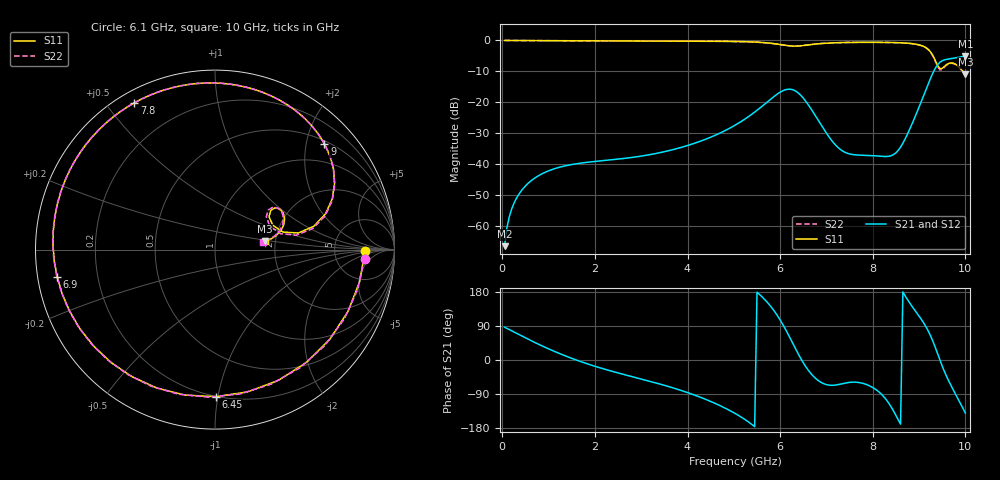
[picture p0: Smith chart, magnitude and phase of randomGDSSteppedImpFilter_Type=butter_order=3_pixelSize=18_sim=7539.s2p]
! freq	dB(S11)	phase(S11)	dB(S12)	phase(S12)
!  dB(S21)	phase(S21)	dB(S22)	phase(S22)
!S-par simulation data
#  GHz  S  DB  R 50
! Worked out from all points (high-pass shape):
!   200 points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, 50 MHz to 10 GHz, reference 50 ohm
!   highest |S21| = -5.12 dB at 10 GHz (marker M1); lowest = -66.7 dB at 50 MHz (marker M2)
!   |S21| within 3 dB of the highest: 9.389 GHz to end of sweep
!   lowest |S11| = -11.0 dB at 10 GHz (marker M3), VSWR 1.78, Z = 87.8 + j8.64 ohm
!   |S11| at or under -10 dB: 9.944 GHz to end of sweep
!   |S22| runs from -11.4 to 0.0 dB; largest |S21 - S12| = 0
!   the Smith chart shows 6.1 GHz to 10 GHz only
!   S11 on the Smith chart (normalised r, x): 6.1 GHz: 11, -1; 6.45 GHz: 0.20, -0.99; 6.9 GHz: 0.06, -0.09; 7.8 GHz: 0.05, +0.59; 9 GHz: 0.56, +2.36; 10 GHz: 1.76, +0.17
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0.05  -0.00 -3.2  -66.70 86.5  -66.70 86.5  -0.00 -3.2
0.2  -0.02 -12.9  -54.75 77.0  -54.75 77.0  -0.02 -12.9
0.5  -0.04 -31.7  -47.16 58.3  -47.16 58.3  -0.04 -31.7
1.1  -0.08 -67.0  -41.71 24.0  -41.71 24.0  -0.08 -67.0
1.75  -0.11 -100.4  -39.66 -6.6  -39.66 -6.6  -0.11 -100.4
3.4  -0.16 -168.0  -36.39 -63.3  -36.39 -63.3  -0.16 -168.1
4.3  -0.22 157.5  -32.54 -99.4  -32.54 -99.4  -0.22 157.2
5.05  -0.34 121.7  -27.27 -142.6  -27.27 -142.6  -0.34 121.2
5.7  -0.76 68.2  -20.21 155.2  -20.21 155.2  -0.77 66.7
6.1  -1.56 -0.6  -16.05 84.5  -16.05 84.5  -1.57 -3.5
6.3  -1.84 -51.1  -16.14 37.3  -16.14 37.3  -1.82 -54.4
6.45  -1.73 -89.7  -17.86 2.9  -17.86 2.9  -1.69 -92.5
6.7  -1.27 -141.3  -22.97 -40.6  -22.97 -40.6  -1.24 -143.0
6.9  -0.99 -170.1  -27.77 -60.2  -27.77 -60.2  -0.97 -171.1
7.3  -0.71 151.6  -35.34 -63.8  -35.34 -63.8  -0.70 151.2
7.8  -0.60 118.8  -37.22 -62.1  -37.22 -62.1  -0.60 118.6
8.35  -0.66 87.8  -37.54 -114.7  -37.54 -114.7  -0.66 87.7
9  -1.43 44.0  -21.59 115.8  -21.59 115.8  -1.45 43.5
9.3  -4.95 13.3  -10.48 49.0  -10.48 49.0  -5.11 12.1
9.5  -9.06 31.3  -6.56 -16.2  -6.56 -16.2  -9.41 32.5
9.75  -7.44 24.0  -5.76 -81.6  -5.76 -81.6  -7.53 24.7
10  -11.03 9.3  -5.12 -139.9  -5.12 -139.9  -11.38 9.3
